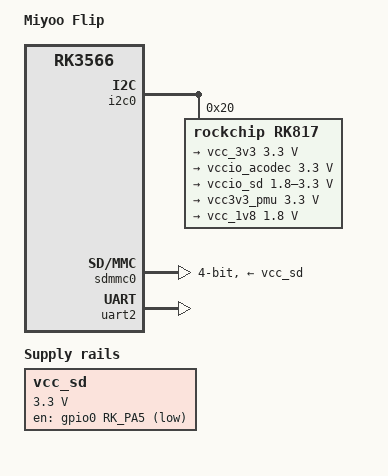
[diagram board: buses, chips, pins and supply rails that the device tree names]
// SPDX-License-Identifier: (GPL-2.0+ OR MIT)
/*
 * Miyoo Flip: U-Boot's control tree on the my355 path. Only what U-Boot uses,
 * with values from the vendor kernel's tree; the kernel still gets that tree.
 */

/dts-v1/;

#include <dt-bindings/gpio/gpio.h>
#include <dt-bindings/pinctrl/rockchip.h>
#include "rk3566.dtsi"

/ {
	model = "Miyoo Flip";
	compatible = "miyoo,flip", "rockchip,rk3566";

	chosen {
		stdout-path = "serial2:1500000n8";
	};

	vcc_sd: regulator-vcc-sd {
		compatible = "regulator-fixed";
		gpio = <&gpio0 RK_PA5 GPIO_ACTIVE_LOW>;
		pinctrl-names = "default";
		pinctrl-0 = <&vcc_sd_h>;
		regulator-boot-on;
		regulator-name = "vcc_sd";
		regulator-min-microvolt = <3300000>;
		regulator-max-microvolt = <3300000>;
	};
};

/*
 * vdd_cpu is an RK8600 at 0x40, which U-Boot has no driver for: `my355 cpu`
 * addresses it directly. Of the RK817's rails, only the IO domains' and the
 * card's supplies are described, so U-Boot leaves the others as the PMIC has
 * them.
 */
&i2c0 {
	status = "okay";

	rk817: pmic@20 {
		compatible = "rockchip,rk817";
		reg = <0x20>;
		rockchip,system-power-controller;

		regulators {
			vcc_3v3: DCDC_REG4 {
				regulator-always-on;
				regulator-boot-on;
				regulator-min-microvolt = <3300000>;
				regulator-max-microvolt = <3300000>;
				regulator-name = "vcc_3v3";
			};

			vccio_acodec: LDO_REG4 {
				regulator-always-on;
				regulator-boot-on;
				regulator-min-microvolt = <3300000>;
				regulator-max-microvolt = <3300000>;
				regulator-name = "vccio_acodec";
			};

			vccio_sd: LDO_REG5 {
				regulator-always-on;
				regulator-boot-on;
				regulator-min-microvolt = <1800000>;
				regulator-max-microvolt = <3300000>;
				regulator-name = "vccio_sd";
			};

			vcc3v3_pmu: LDO_REG6 {
				regulator-always-on;
				regulator-boot-on;
				regulator-min-microvolt = <3300000>;
				regulator-max-microvolt = <3300000>;
				regulator-name = "vcc3v3_pmu";
			};

			vcc_1v8: LDO_REG7 {
				regulator-always-on;
				regulator-boot-on;
				regulator-min-microvolt = <1800000>;
				regulator-max-microvolt = <1800000>;
				regulator-name = "vcc_1v8";
			};
		};
	};
};

&pinctrl {
	vcc_sd {
		vcc_sd_h: vcc-sd-h {
			rockchip,pins = <0 RK_PA5 RK_FUNC_GPIO &pcfg_pull_none>;
		};
	};
};

/* U-Boot sets each domain's pad voltage from these when it binds them. */
&pmu_io_domains {
	pmuio2-supply = <&vcc3v3_pmu>;
	vccio1-supply = <&vccio_acodec>;
	vccio3-supply = <&vccio_sd>;
	vccio4-supply = <&vcc_3v3>;
	vccio5-supply = <&vcc_1v8>;
	vccio6-supply = <&vcc_1v8>;
	vccio7-supply = <&vcc_3v3>;
	status = "okay";
};

/* The right-hand slot, the one the SPL boots from. */
&sdmmc0 {
	bus-width = <4>;
	cap-sd-highspeed;
	disable-wp;
	pinctrl-names = "default";
	pinctrl-0 = <&sdmmc0_bus4 &sdmmc0_clk &sdmmc0_cmd &sdmmc0_det>;
	vmmc-supply = <&vcc_sd>;
	vqmmc-supply = <&vccio_sd>;
	status = "okay";
};

&uart2 {
	status = "okay";
};
